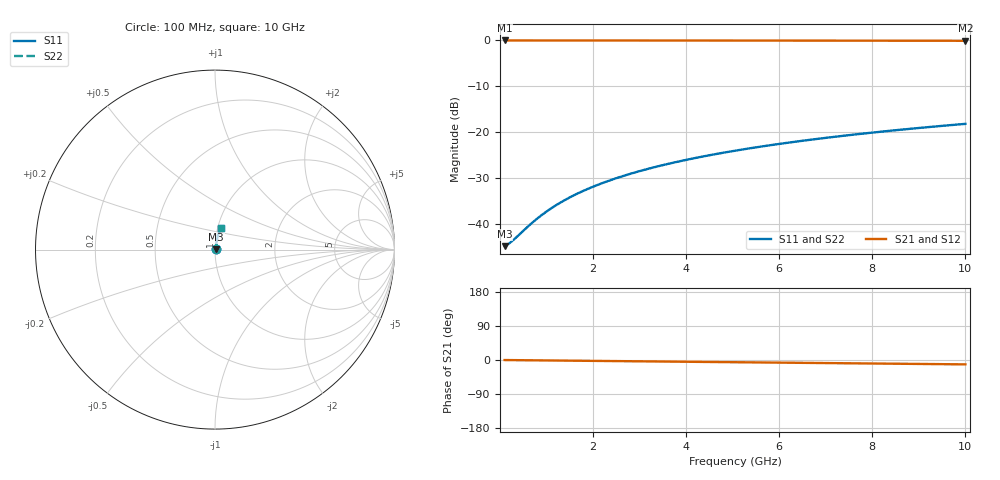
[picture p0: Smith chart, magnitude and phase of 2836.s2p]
# Hz S RI R 50.00
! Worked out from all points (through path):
!   100 points, 100 MHz to 10 GHz, reference 50 ohm
!   highest |S21| = -0.05 dB at 100 MHz (marker M1); lowest = -0.1 dB at 10 GHz (marker M2)
!   group delay of S21, straight-line fit = 3.21 ps
!   lowest |S11| = -44.8 dB at 100 MHz (marker M3), VSWR 1.01, Z = 50.6 + j0.125 ohm
!   |S11| at or under -10 dB: start of sweep to end of sweep
!   |S22| runs from -44.8 to -18.2 dB; largest |S21 - S12| = 0
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1e8  0.00563 0.00123  0.9944 -0.00201  0.9944 -0.00201  0.00563 0.00123
2e8  0.00568 0.00246  0.9943 -0.00402  0.9943 -0.00402  0.00568 0.00246
3e8  0.00572 0.00369  0.9943 -0.00602  0.9943 -0.00602  0.00572 0.00369
7e8  0.00589 0.00862  0.9941 -0.0141  0.9941 -0.0141  0.00589 0.00862
8e8  0.00594 0.00985  0.994 -0.0161  0.994 -0.0161  0.00594 0.00985
1e9  0.00605 0.0123  0.9939 -0.0201  0.9939 -0.0201  0.00605 0.0123
1.2e9  0.00618 0.0148  0.9938 -0.0241  0.9938 -0.0241  0.00618 0.0148
1.4e9  0.00633 0.0172  0.9936 -0.0281  0.9936 -0.0281  0.00633 0.0172
1.6e9  0.0065 0.0197  0.9934 -0.0321  0.9934 -0.0321  0.0065 0.0197
1.8e9  0.00668 0.0221  0.9932 -0.0361  0.9932 -0.0361  0.00668 0.0221
2.1e9  0.00699 0.0258  0.9929 -0.0421  0.9929 -0.0421  0.00699 0.0258
2.5e9  0.00748 0.0307  0.9923 -0.0501  0.9923 -0.0501  0.00748 0.0307
2.9e9  0.00804 0.0356  0.9917 -0.0581  0.9917 -0.0581  0.00804 0.0356
3.4e9  0.00885 0.0417  0.9908 -0.0681  0.9908 -0.0681  0.00885 0.0417
3.8e9  0.00958 0.0466  0.99 -0.0761  0.99 -0.0761  0.00958 0.0466
4.2e9  0.0104 0.0514  0.989 -0.0841  0.989 -0.0841  0.0104 0.0514
5.1e9  0.0125 0.0623  0.9867 -0.1019  0.9867 -0.1019  0.0125 0.0623
5.9e9  0.0147 0.0718  0.9842 -0.1177  0.9842 -0.1177  0.0147 0.0718
6.7e9  0.0172 0.0813  0.9814 -0.1334  0.9814 -0.1334  0.0172 0.0813
7.5e9  0.02 0.0907  0.9782 -0.1491  0.9782 -0.1491  0.02 0.0907
8.4e9  0.0235 0.1011  0.9743 -0.1666  0.9743 -0.1666  0.0235 0.1011
1e10  0.0307 0.1193  0.9662 -0.1973  0.9662 -0.1973  0.0307 0.1193
